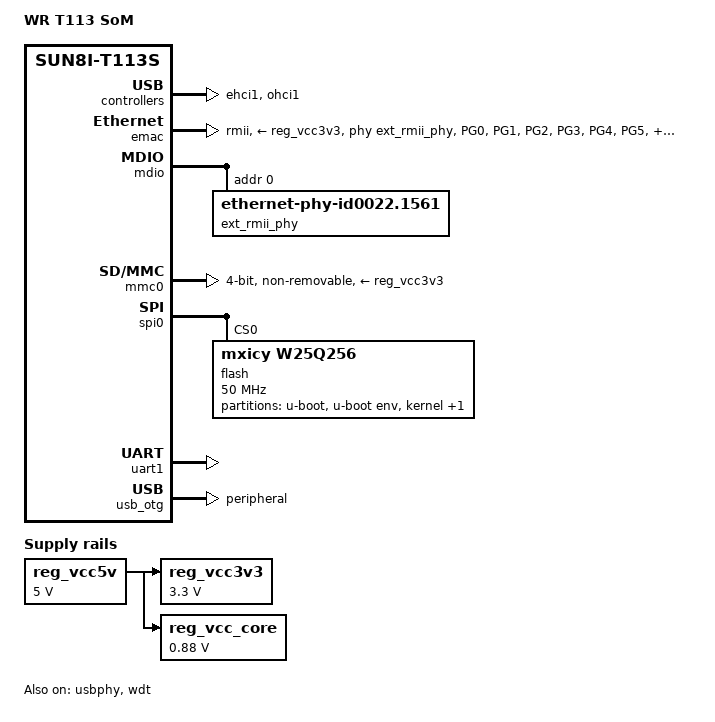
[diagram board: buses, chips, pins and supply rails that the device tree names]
// SPDX-License-Identifier: (GPL-2.0+ OR MIT)
// Copyright (C) 2024 WirelessRoad.

#include <dt-bindings/interrupt-controller/irq.h>
#include <dt-bindings/gpio/gpio.h>


/dts-v1/;

#include "sun8i-t113s.dtsi"

/ {
	model = "WR T113 SoM";
	compatible = "wirelessroad,t113-netsom", "allwinner,sun8i-t113s";

    aliases {
        ethernet0 = &emac;
        serial1 = &uart1;
    };

    chosen {
        stdout-path = "serial1:115200n8";    
    };

    // panel_rgb: panel-rgb {
    //     compatible = "cdtech,s070pws19hp-fc21";
    //     power-supply = <&reg_vcc3v3>;
       
    //     port {
    //         panel_input: endpoint {
    //         remote-endpoint = <&tcon_lcd0_out_rgb>;
    //         };
    //     };
    //     panel-timing {
    //         clock-frequency = <51200000>;
    //         hactive = <1024>;
    //         vactive = <600>;
    //         hfront-porch = <160>;
    //         hback-porch = <160>;
    //         hsync-len = <41>;
    //         vback-porch = <23>;
    //         vfront-porch = <12>;
    //         vsync-len = <10>;
    //     };
    // };
  
    reg_vcc5v: regulator-5v {
        compatible = "regulator-fixed";
        regulator-name = "vcc-5v";
        regulator-min-microvolt = <5000000>;
        regulator-max-microvolt = <5000000>;
        regulator-always-on;
    };
    reg_vcc3v3: regulator-3v3 {
        compatible = "regulator-fixed";
        regulator-name = "vcc-3v3";
        regulator-min-microvolt = <3300000>;
        regulator-max-microvolt = <3300000>;
        vin-supply = <&reg_vcc5v>;
        regulator-always-on;
    };

    reg_vcc_core: regulator-core {
        compatible = "regulator-fixed";
        regulator-name = "vcc-core";
        regulator-min-microvolt = <880000>;
        regulator-max-microvolt = <880000>;
        vin-supply = <&reg_vcc5v>;
        regulator-always-on;
    };
};



&cpu0 {
	cpu-supply = <&reg_vcc_core>;
    clock-frequency = <1200000000>;
};

&cpu1 {
	cpu-supply = <&reg_vcc_core>;
    clock-frequency = <1200000000>;
};

&dcxo {
    clock-frequency = <24000000>;
};

&ehci1 {
	status = "okay";
};

&emac {
    pinctrl-names = "default";
    pinctrl-0 = <&rmii_pg_pins>;
    phy-mode = "rmii";
    phy-handle = <&ext_rmii_phy>;
    phy-supply = <&reg_vcc3v3>;
    status = "okay";
};

&mdio {
    ext_rmii_phy: ethernet-phy@0 {
        compatible = "ethernet-phy-id0022.1561", "ethernet-phy-ieee802.3-c22";
        clocks = <&ccu CLK_EMAC_25M>;
        clock-names = "ext-clk";
        reg = <0>;
    };
};

&mmc0 {
	pinctrl-0 = <&mmc0_pins>;
	pinctrl-names = "default";
	vmmc-supply = <&reg_vcc3v3>;
	non-removable;
	disable-wp;
	bus-width = <4>;
	status = "okay";
};

&ohci1 {
	status = "okay";
};

&pio {
    vcc-pb-supply = <&reg_vcc3v3>;
	vcc-pc-supply = <&reg_vcc3v3>;
	vcc-pd-supply = <&reg_vcc3v3>;
	vcc-pe-supply = <&reg_vcc3v3>;
	vcc-pf-supply = <&reg_vcc3v3>;
	vcc-pg-supply = <&reg_vcc3v3>;

    rmii_pg_pins: rmii-pg-pins {
        pins = "PG0", "PG1", "PG2", "PG3", "PG4",
                "PG5", "PG11", "PG12", "PG13", "PG14", "PG15";
        function = "emac";
    };
};

&spi0 {
    pinctrl-names = "default";
    pinctrl-0 = <&spi0_pins>;
    status = "okay";
    flash@0 {
        #address-cells = <1>;
        #size-cells = <1>;
        compatible = "mxicy,w25q256", "jedec,spi-nor";
        reg = <0>;
        spi-max-frequency = <50000000>;
        partitions {
            compatible = "fixed-partitions";
            #address-cells = <1>;
            #size-cells = <1>;
            partition@0 {
                label = "u-boot";
                reg = <0x0000000 0x80000>;
                read-only;
            };
            partition@80000 {
                label = "u-boot env";
                reg = <0x0080000 0x10000>;
            };
            partition@90000 {
                label = "kernel";
                reg = <0x0090000 0x400000>;
            };
            partition@490000 {
                label = "rootfs";
                reg = <0x0490000 0x1b70000>;
            };
        };
    };
};

&uart1 {
    pinctrl-names = "default";
    pinctrl-0 = <&uart1_pg6_pins>;
    status = "okay";
};


&usb_otg {
	dr_mode = "peripheral";
	status = "okay";
};

&usbphy {
	usb1_vbus-supply = <&reg_vcc5v>;
	status = "okay";
};

&wdt {
    status = "okay";
};
